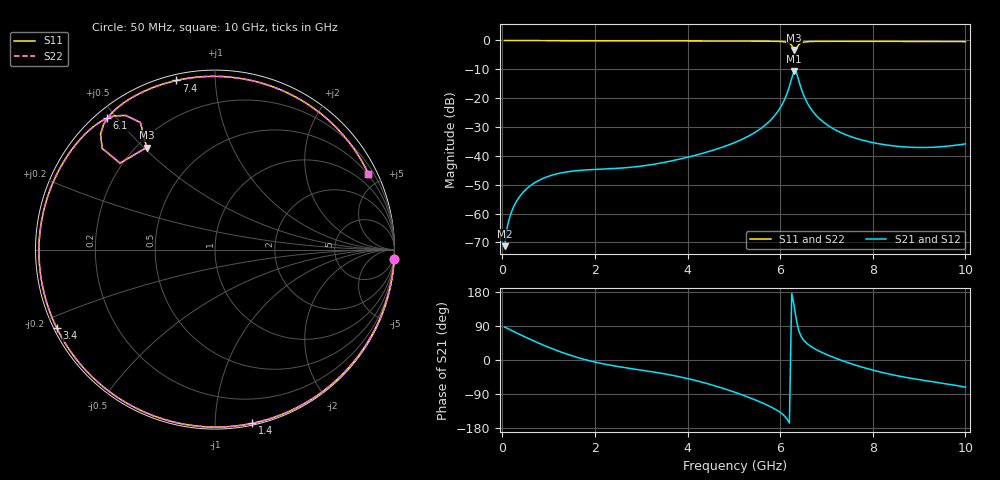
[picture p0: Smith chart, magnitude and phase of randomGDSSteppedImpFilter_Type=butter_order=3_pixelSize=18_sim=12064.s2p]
! freq	dB(S11)	phase(S11)	dB(S12)	phase(S12)
!  dB(S21)	phase(S21)	dB(S22)	phase(S22)
!S-par simulation data
#  GHz  S  DB  R 50
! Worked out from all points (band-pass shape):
!   200 points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, 50 MHz to 10 GHz, reference 50 ohm
!   highest |S21| = -10.65 dB at 6.3 GHz (marker M1); lowest = -71.3 dB at 50 MHz (marker M2)
!   |S21| within 3 dB of the highest: 6.24 GHz to 6.398 GHz (157.8 MHz wide, 2.5 % of centre)
!   lowest |S11| = -3.3 dB at 6.3 GHz (marker M3), VSWR 5.33, Z = 11.9 + j25.5 ohm
!   |S11| at or under -10 dB: nowhere
!   |S22| runs from -3.3 to 0.0 dB; largest |S21 - S12| = 0
!   S11 on the Smith chart (normalised r, x): 50 MHz: 0, -38; 1.4 GHz: 0.01, -1.24; 3.4 GHz: 0.01, -0.23; 6.1 GHz: 0.03, +0.47; 7.4 GHz: 0.03, +0.80; 10 GHz: 0.46, +4.23
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0.05  -0.00 -3.0  -71.29 86.9  -71.29 86.9  -0.00 -3.0
0.15  -0.01 -9.1  -61.80 80.8  -61.80 80.8  -0.01 -9.1
0.4  -0.03 -23.9  -53.57 66.1  -53.57 66.1  -0.03 -23.9
0.9  -0.06 -52.3  -47.66 38.6  -47.66 38.6  -0.06 -52.3
1.4  -0.09 -77.9  -45.54 15.4  -45.54 15.4  -0.09 -77.9
1.75  -0.10 -94.0  -44.93 2.3  -44.93 2.3  -0.10 -94.0
2.55  -0.12 -125.8  -44.25 -18.3  -44.25 -18.3  -0.12 -125.8
3.4  -0.14 -153.7  -42.54 -34.3  -42.54 -34.3  -0.14 -153.7
4.2  -0.16 -176.6  -39.65 -54.9  -39.65 -54.9  -0.16 -176.7
5.05  -0.20 160.7  -35.17 -86.3  -35.17 -86.3  -0.20 160.7
5.7  -0.25 143.1  -29.01 -117.9  -29.01 -117.9  -0.25 143.1
6.1  -0.47 129.4  -20.32 -148.5  -20.32 -148.5  -0.47 129.4
6.25  -1.71 120.4  -13.09 175.8  -13.09 175.8  -1.71 120.4
6.3  -3.30 123.8  -10.65 144.8  -10.65 144.8  -3.29 123.8
6.35  -2.90 137.7  -11.08 105.4  -11.08 105.4  -2.90 137.7
6.4  -1.47 138.1  -13.76 78.3  -13.76 78.3  -1.47 138.1
6.55  -0.48 129.3  -20.53 46.6  -20.53 46.6  -0.48 129.2
6.7  -0.35 123.4  -24.48 32.9  -24.48 32.9  -0.34 123.4
7.4  -0.29 102.9  -32.56 -4.3  -32.56 -4.3  -0.29 102.9
8.35  -0.32 76.3  -36.35 -37.0  -36.35 -37.0  -0.32 76.2
9.15  -0.36 52.7  -37.08 -54.6  -37.08 -54.6  -0.36 52.7
10  -0.41 26.3  -35.86 -71.7  -35.86 -71.7  -0.41 26.2
